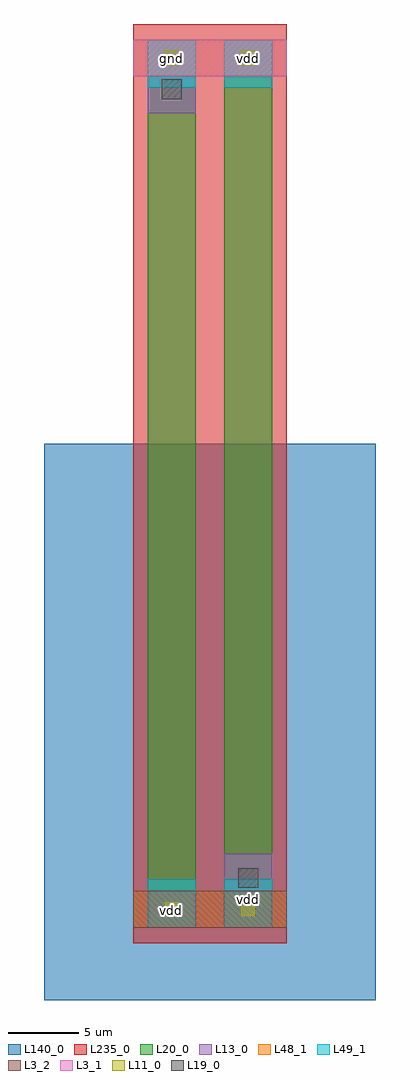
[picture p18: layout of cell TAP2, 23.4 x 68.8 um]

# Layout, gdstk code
import gdstk
lib = gdstk.Library(unit=1e-6, precision=1e-09)
def R(c, l, rs):  # rectangles x0, y0, x1, y1
    for r in rs: c.add(gdstk.rectangle(r[:2], r[2:], *l))
def P(c, l, *ps):  # polygons
    for p in ps: c.add(gdstk.Polygon(p, *l))
L3_1 = (3, 1)
L3_2 = (3, 2)
L11_0 = (11, 0)
L13_0 = (13, 0)
L19_0 = (19, 0)
L20_0 = (20, 0)
L48_1 = (48, 1)
L49_1 = (49, 1)
L140_0 = (140, 0)
L235_0 = (235, 0)

tap2 = lib.new_cell('TAP2')
R(tap2, L3_1, [(0,-3.7,10.8,-1.1)])
R(tap2, L3_2, [(0,-63.7,10.8,-61.1)])
R(tap2, L11_0, [(2.2,-62.9,3.2,-61.9), (2.2,-62.9,3.2,-61.9), (7.6,-62.9,8.6,-61.9), (2.2,-2.9,3.2,-1.9), (7.6,-2.9,8.6,-1.9), (7.6,-2.9,8.6,-1.9)])
P(tap2, L13_0, [(1,-6.3),(1,-3.7),(0,-3.7),(0,-1.1),(10.8,-1.1),(10.8,-3.7),(4.4,-3.7),(4.4,-6.3)],
  [(0,-63.7),(0,-61.1),(6.4,-61.1),(6.4,-58.5),(9.8,-58.5),(9.8,-61.1),(10.8,-61.1),(10.8,-63.7)])
R(tap2, L19_0, [(7.4,-60.9,8.8,-59.5), (2,-5.3,3.4,-3.9)])
R(tap2, L20_0, [(1,-63.7,4.4,-1.1), (6.4,-63.7,9.8,-1.1)])
R(tap2, L48_1, [(0,-63.7,10.8,-61.1), (0,-3.7,10.8,-1.1)])
R(tap2, L49_1, [(1,-63.7,4.4,-60.3), (6.4,-63.7,9.8,-60.3), (1,-4.5,4.4,-1.1), (6.4,-4.5,9.8,-1.1)])
R(tap2, L140_0, [(-6.3,-68.8,17.1,-29.6)])
R(tap2, L235_0, [(0,-64.8,10.8,0)])
tap2.add(gdstk.Label('gnd', (2.7,-2.4), layer=48, texttype=0))
tap2.add(gdstk.Label('vdd', (2.7,-62.5), layer=48, texttype=0))
tap2.add(gdstk.Label('gnd', (2.5,-2.7), layer=49, texttype=0))
tap2.add(gdstk.Label('vdd', (8.1,-61.7), layer=49, texttype=0))
tap2.add(gdstk.Label('vdd', (8.1,-2.4), layer=49, texttype=0))
tap2.add(gdstk.Label('gnd', (2.6,-62.3), layer=49, texttype=0))

lib.write_gds('TAP2.gds')
